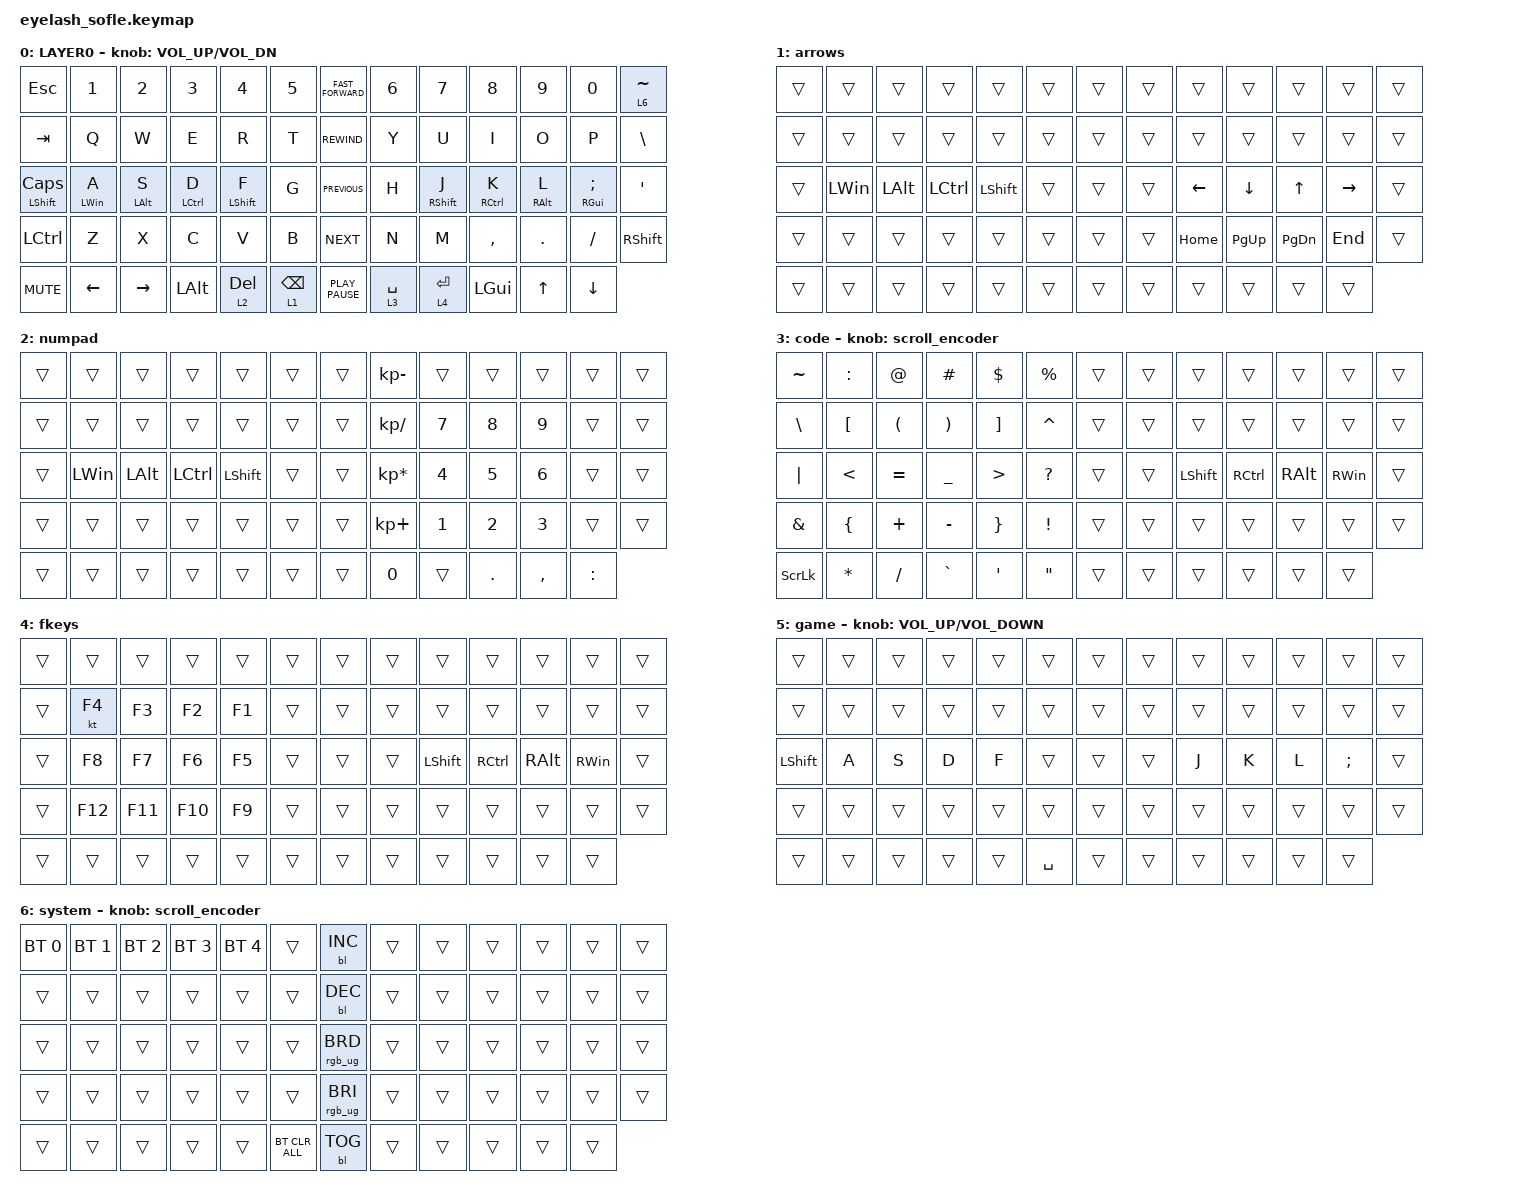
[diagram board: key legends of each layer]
#define ZMK_POINTING_DEFAULT_MOVE_VAL 1200  // 600
#define ZMK_POINTING_DEFAULT_SCRL_VAL 25   // 10

#include <input/processors.dtsi>
#include <zephyr/dt-bindings/input/input-event-codes.h>
#include <behaviors.dtsi>
#include <dt-bindings/zmk/backlight.h>
#include <dt-bindings/zmk/bt.h>
#include <dt-bindings/zmk/keys.h>
#include <dt-bindings/zmk/pointing.h>
#include <dt-bindings/zmk/rgb.h>

&mmv_input_listener { input-processors = <&zip_xy_scaler 2 1>; };

&msc_input_listener { input-processors = <&zip_scroll_scaler 2 1>; };

&msc {
    acceleration-exponent = <1>;      // 0
    time-to-max-speed-ms = <100>;       // 300
    delay-ms = <0>;                   // 0
};

&mmv {
    time-to-max-speed-ms = <500>;
    acceleration-exponent = <1>;
    trigger-period-ms = <16>;
};

&soft_off { hold-time-ms = <2000>; };

&mt {
    tapping-term-ms = <150>;
    hold-trigger-on-release;
    flavor = "hold-preferred";
};

/ {
    scroll_encoder: scroll_encoder {
        compatible = "zmk,behavior-sensor-rotate";
        #sensor-binding-cells = <0>;
        bindings = <&msc SCRL_DOWN>, <&msc SCRL_UP>;

        tap-ms = <100>;
    };

    hm: hm {
        compatible = "zmk,behavior-hold-tap";
        label = "HM";
        bindings = <&kp>, <&kp>;

        #binding-cells = <2>;
        tapping-term-ms = <250>;
        quick-tap-ms = <100>;
        require-prior-idle-ms = <0>;
        flavor = "balanced";
    };

    behaviors {
    };

    combos {
        compatible = "zmk,combos";

        softoff {
            bindings = <&tog 5>;
            key-positions = <57 59>;
        };

        alt_tab {
            bindings = <&alt_tab>;
            key-positions = <57 56>;
        };
    };

    macros {
        new_macro: new_macro {
            compatible = "zmk,behavior-macro";
            #binding-cells = <0>;
            bindings = <&none>;
            label = "NEW_MACRO";
        };
    };

    keymap {
        compatible = "zmk,keymap";

        layer0 {
            bindings = <
&kp ESC                  &kp N1          &kp N2           &kp N3        &kp N4            &kp N5             &kp C_FAST_FORWARD  &kp N6       &kp N7             &kp N8        &kp N9           &kp N0                   &lt 6 TILDE
&kp TAB                  &kp Q           &kp W            &kp E         &kp R             &kp T              &kp C_REWIND        &kp Y        &kp U              &kp I         &kp O            &kp P                    &kp BSLH
&hm LEFT_SHIFT CAPSLOCK  &hm LWIN A      &hm LEFT_ALT S   &hm LCTRL D   &hm LEFT_SHIFT F  &kp G              &kp C_PREVIOUS      &kp H        &hm RIGHT_SHIFT J  &hm RCTRL K   &hm RIGHT_ALT L  &hm RIGHT_GUI SEMICOLON  &kp APOS
&kp LCTRL                &kp Z           &kp X            &kp C         &kp V             &kp B              &kp C_NEXT          &kp N        &kp M              &kp COMMA     &kp DOT          &kp FSLH                 &kp RIGHT_SHIFT
&kp C_MUTE               &kp LEFT_ARROW  &kp RIGHT_ARROW  &kp LEFT_ALT  &lt 2 DELETE      &lt 1 BACKSPACE    &kp K_PLAY_PAUSE    &lt 3 SPACE  &lt 4 ENTER        &kp LEFT_GUI  &kp UP_ARROW     &kp DOWN_ARROW
            >;

            sensor-bindings = <&inc_dec_kp C_VOLUME_UP C_VOL_DN>;
            display-name = "LAYER0";
        };

        arrows {
            bindings = <
&trans  &trans        &trans        &trans     &trans          &trans    &trans  &trans  &trans    &trans          &trans         &trans     &trans
&trans  &trans        &trans        &trans     &trans          &trans    &trans  &trans  &trans    &trans          &trans         &trans     &trans
&trans  &kp LEFT_WIN  &kp LEFT_ALT  &kp LCTRL  &kp LEFT_SHIFT  &trans    &trans  &trans  &kp LEFT  &kp DOWN_ARROW  &kp UP_ARROW   &kp RIGHT  &trans
&trans  &trans        &trans        &trans     &trans          &trans    &trans  &trans  &kp HOME  &kp PG_UP       &kp PAGE_DOWN  &kp END    &trans
&trans  &trans        &trans        &trans     &trans          &trans    &trans  &trans  &trans    &trans          &trans         &trans
            >;
        };

        numpad {
            bindings = <
&trans  &trans    &trans        &trans     &trans          &trans    &trans  &kp KP_MINUS     &trans        &trans        &trans        &trans     &trans
&trans  &trans    &trans        &trans     &trans          &trans    &trans  &kp KP_DIVIDE    &kp NUMBER_7  &kp NUMBER_8  &kp NUMBER_9  &trans     &trans
&trans  &kp LWIN  &kp LEFT_ALT  &kp LCTRL  &kp LEFT_SHIFT  &trans    &trans  &kp KP_MULTIPLY  &kp NUMBER_4  &kp NUMBER_5  &kp NUMBER_6  &trans     &trans
&trans  &trans    &trans        &trans     &trans          &trans    &trans  &kp KP_PLUS      &kp NUMBER_1  &kp NUMBER_2  &kp NUMBER_3  &trans     &trans
&trans  &trans    &trans        &trans     &trans          &trans    &trans  &kp N0           &trans        &kp PERIOD    &kp COMMA     &kp COLON
            >;
        };

        code {
            bindings = <
&kp TILDE       &kp COLON         &kp AT_SIGN           &kp HASH               &kp DOLLAR         &kp PERCENT          &trans  &trans  &trans          &trans     &trans         &trans    &trans
&kp BACKSLASH   &kp LEFT_BRACKET  &kp LEFT_PARENTHESIS  &kp RIGHT_PARENTHESIS  &kp RIGHT_BRACKET  &kp CARET            &trans  &trans  &trans          &trans     &trans         &trans    &trans
&kp PIPE        &kp LESS_THAN     &kp EQUAL             &kp UNDER              &kp GREATER_THAN   &kp QUESTION         &trans  &trans  &kp LEFT_SHIFT  &kp RCTRL  &kp RIGHT_ALT  &kp RWIN  &trans
&kp AMPERSAND   &kp LEFT_BRACE    &kp PLUS              &kp MINUS              &kp RIGHT_BRACE    &kp EXCLAMATION      &trans  &trans  &trans          &trans     &trans         &trans    &trans
&kp SCROLLLOCK  &kp ASTERISK      &kp SLASH             &kp GRAVE              &kp SQT            &kp DOUBLE_QUOTES    &trans  &trans  &trans          &trans     &trans         &trans
            >;

            sensor-bindings = <&scroll_encoder>;
        };

        fkeys {
            bindings = <
&trans  &trans   &trans   &trans   &trans  &trans    &trans  &trans  &trans          &trans     &trans         &trans         &trans
&trans  &kt F4   &kp F3   &kp F2   &kp F1  &trans    &trans  &trans  &trans          &trans     &trans         &trans         &trans
&trans  &kp F8   &kp F7   &kp F6   &kp F5  &trans    &trans  &trans  &kp LEFT_SHIFT  &kp RCTRL  &kp RIGHT_ALT  &kp RIGHT_WIN  &trans
&trans  &kp F12  &kp F11  &kp F10  &kp F9  &trans    &trans  &trans  &trans          &trans     &trans         &trans         &trans
&trans  &trans   &trans   &trans   &trans  &trans    &trans  &trans  &trans          &trans     &trans         &trans
            >;
        };

        game {
            bindings = <
&trans          &trans  &trans  &trans  &trans  &trans       &trans  &trans  &trans  &trans  &trans  &trans         &trans
&trans          &trans  &trans  &trans  &trans  &trans       &trans  &trans  &trans  &trans  &trans  &trans         &trans
&kp LEFT_SHIFT  &kp A   &kp S   &kp D   &kp F   &trans       &trans  &trans  &kp J   &kp K   &kp L   &kp SEMICOLON  &trans
&trans          &trans  &trans  &trans  &trans  &trans       &trans  &trans  &trans  &trans  &trans  &trans         &trans
&trans          &trans  &trans  &trans  &trans  &kp SPACE    &trans  &trans  &trans  &trans  &trans  &trans
            >;

            sensor-bindings = <&inc_dec_kp C_VOLUME_UP C_VOLUME_DOWN>;
        };

        system {
            bindings = <
&bt BT_SEL 0  &bt BT_SEL 1  &bt BT_SEL 2  &bt BT_SEL 3  &bt BT_SEL 4  &trans            &bl BL_INC       &trans  &trans  &trans  &trans  &trans  &trans
&trans        &trans        &trans        &trans        &trans        &trans            &bl BL_DEC       &trans  &trans  &trans  &trans  &trans  &trans
&trans        &trans        &trans        &trans        &trans        &trans            &rgb_ug RGB_BRD  &trans  &trans  &trans  &trans  &trans  &trans
&trans        &trans        &trans        &trans        &trans        &trans            &rgb_ug RGB_BRI  &trans  &trans  &trans  &trans  &trans  &trans
&trans        &trans        &trans        &trans        &trans        &bt BT_CLR_ALL    &bl BL_TOG       &trans  &trans  &trans  &trans  &trans
            >;

            sensor-bindings = <&scroll_encoder>;
        };
    };
};
